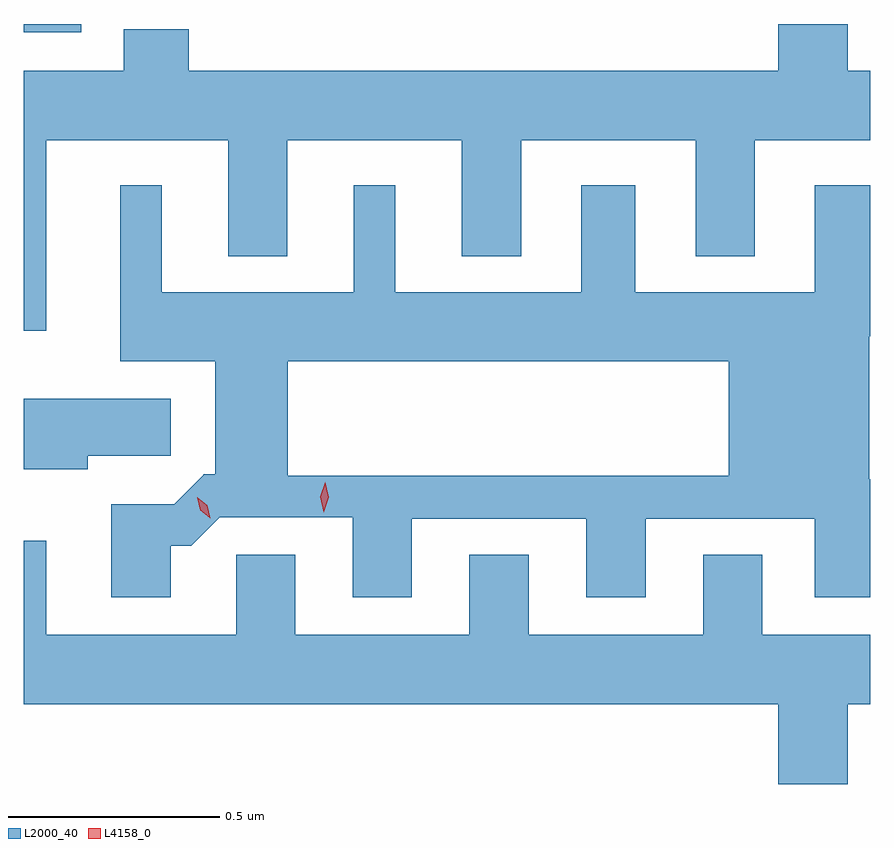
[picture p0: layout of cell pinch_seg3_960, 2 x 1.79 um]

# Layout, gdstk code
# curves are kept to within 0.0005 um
import gdstk
lib = gdstk.Library(unit=1e-6, precision=1e-09)
def R(c, l, rs):  # rectangles x0, y0, x1, y1
    for r in rs: c.add(gdstk.rectangle(r[:2], r[2:], *l))
def P(c, l, *ps):  # polygons
    for p in ps: c.add(gdstk.Polygon(p, *l))
L2000_40 = (2000, 40)
L4158_0 = (4158, 0)

pinch_seg3_960 = lib.new_cell('pinch_seg3_960')
R(pinch_seg3_960, L2000_40, [(546.842,714.491,546.978,714.511)])
P(pinch_seg3_960, L2000_40, [(546.895,714.236),(547.325,714.236),(547.325,713.963),(547.465,713.963),(547.465,714.236),(547.877,714.236),(547.877,713.963),(548.017,713.963),(548.017,714.236),(548.429,714.236),(548.429,713.963),(548.569,713.963),(548.569,714.236),(548.842,714.236),(548.842,714.4),(548.788,714.4),(548.788,714.511),(548.624,714.511),(548.624,714.4),(547.232,714.4),(547.232,714.499),(547.079,714.499),(547.079,714.4),(546.842,714.4),(546.842,713.787),(546.895,713.787)],
  [(547.049,713.377),(547.049,713.157),(547.189,713.157),(547.189,713.279),(547.238,713.279),(547.305,713.346),(547.619,713.346),(547.619,713.157),(547.759,713.157),(547.759,713.343),(548.171,713.343),(548.171,713.157),(548.311,713.157),(548.311,713.343),(548.711,713.343),(548.711,713.157),(548.842,713.157),(548.842,713.436),(548.839,713.436),(548.839,713.774),(548.842,713.774),(548.842,714.13),(548.711,714.13),(548.711,713.878),(548.287,713.878),(548.287,714.13),(548.159,714.13),(548.159,713.878),(547.72,713.878),(547.72,714.13),(547.622,714.13),(547.622,713.878),(547.168,713.878),(547.168,714.13),(547.07,714.13),(547.07,713.714),(547.295,713.714),(547.295,713.447),(547.268,713.447),(547.265,713.444),(547.466,713.444),(547.466,713.714),(548.507,713.714),(548.507,713.444),(547.265,713.444),(547.198,713.377)],
  [(546.994,713.491),(547.189,713.491),(547.189,713.626),(546.842,713.626),(546.842,713.459),(546.994,713.459)],
  [(548.788,712.904),(548.842,712.904),(548.842,713.068),(548.587,713.068),(548.587,713.258),(548.447,713.258),(548.447,713.068),(548.035,713.068),(548.035,713.258),(547.895,713.258),(547.895,713.068),(547.483,713.068),(547.483,713.258),(547.344,713.258),(547.344,713.068),(546.895,713.068),(546.895,713.29),(546.842,713.29),(546.842,712.904),(548.624,712.904),(548.624,712.716),(548.788,712.716)])
P(pinch_seg3_960, L4158_0, [(547.551,713.358),(547.551,713.358),(547.543,713.394),(547.555,713.429),(547.555,713.429),(547.555,713.429),(547.563,713.393),(547.551,713.358)],
  [(547.283,713.344),(547.283,713.344),(547.259,713.363),(547.252,713.393),(547.252,713.393),(547.252,713.393),(547.276,713.374),(547.283,713.344)])

lib.write_gds('pinch_seg3_960.gds')
